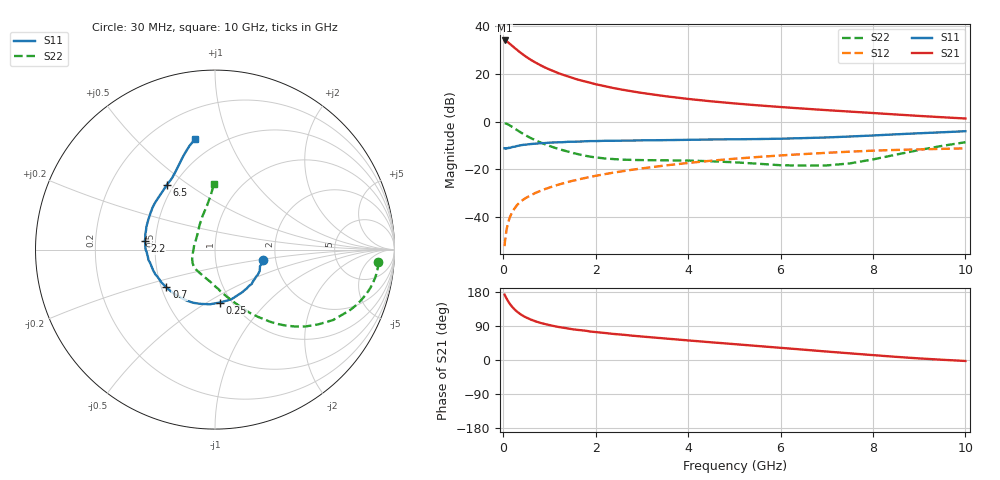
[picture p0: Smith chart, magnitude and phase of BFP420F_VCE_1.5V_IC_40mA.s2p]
! Infineon Technologies  Discrete & RF Semiconductors
! BFP420F
! VCE =  1.5 V,  IC =  40 mA
! Common Emitter S-Parameters:  Sep 2011
# GHz  S  MA  R  50
!  f  S11  S21  S12  S22
! GHz  MAG  ANG  MAG  ANG  MAG  ANG  MAG  ANG
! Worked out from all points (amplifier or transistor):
!   54 points, 30 MHz to 10 GHz, reference 50 ohm
!   highest |S21| = 34.1 dB at 30 MHz (marker M1)
!   |S21| within 3 dB of that: start of sweep to 238.4 MHz
!   unconditionally stable (mu >= 1): 1.258 GHz to end of sweep
!   at 120 MHz: K = 0.41, MSG = 37.4 dB, |S12| = -41.6 dB
!   at 1.3 GHz: K = 1.01, MAG = 22.2 dB, |S12| = -26.0 dB
!   at 10 GHz: K = 1.22, MAG = 3.5 dB, |S12| = -11.3 dB
!   S11 on the Smith chart (normalised r, x): 30 MHz: 1.71, -0.22; 250 MHz: 0.88, -0.57; 700 MHz: 0.53, -0.25; 2.2 GHz: 0.44, +0.05; 6.5 GHz: 0.46, +0.41; 10 GHz: 0.38, +0.76
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0.03  0.2748 -12.6  50.69 172.4  0.0024 89.7  0.9126 -4.2
0.05  0.267 -20.0  49.59 167.2  0.0036 88.2  0.9103 -8.1
0.07  0.2769 -30.3  48.83 162.8  0.0051 82.1  0.899 -11.9
0.1  0.276 -40.4  46.77 156.2  0.0071 81.4  0.8742 -17.0
0.12  0.2772 -47.4  45.1 152.1  0.0083 79.0  0.8542 -20.2
0.15  0.2819 -57.4  42.52 146.9  0.0101 77.2  0.8213 -24.5
0.2  0.2919 -72.1  38.7 139.5  0.0129 73.8  0.7662 -30.8
0.25  0.2961 -84.7  35.09 133.0  0.0151 71.6  0.7106 -35.9
0.35  0.3128 -104.8  29.32 122.8  0.0197 68.7  0.6153 -44.1
0.45  0.3249 -118.8  24.82 115.1  0.0234 66.9  0.539 -50.1
0.6  0.3372 -134.5  19.76 106.5  0.0283 66.0  0.4479 -57.1
0.7  0.3431 -142.2  17.38 102.0  0.0317 65.6  0.4042 -61.0
0.9  0.3528 -153.5  13.75 95.0  0.0379 65.5  0.3343 -67.4
1.2  0.3658 -165.5  10.36 87.1  0.0473 65.3  0.2655 -76.7
1.7  0.3811 -178.1  7.243 78.3  0.0629 64.5  0.1973 -91.6
2.2  0.3938 173.0  5.548 71.3  0.0785 62.9  0.1678 -107.1
3.5  0.4069 156.1  3.42 56.8  0.1192 56.5  0.1531 -134.0
5.5  0.4286 137.3  2.197 37.0  0.1797 43.5  0.1302 -165.8
6.5  0.449 126.9  1.871 27.3  0.2072 36.6  0.1186 167.7
7  0.4631 121.4  1.737 22.3  0.2202 32.9  0.1196 152.2
8.5  0.539 110.0  1.408 8.3  0.2531 21.5  0.2017 109.8
10  0.6263 100.2  1.16 -2.6  0.2732 12.2  0.3677 90.9
